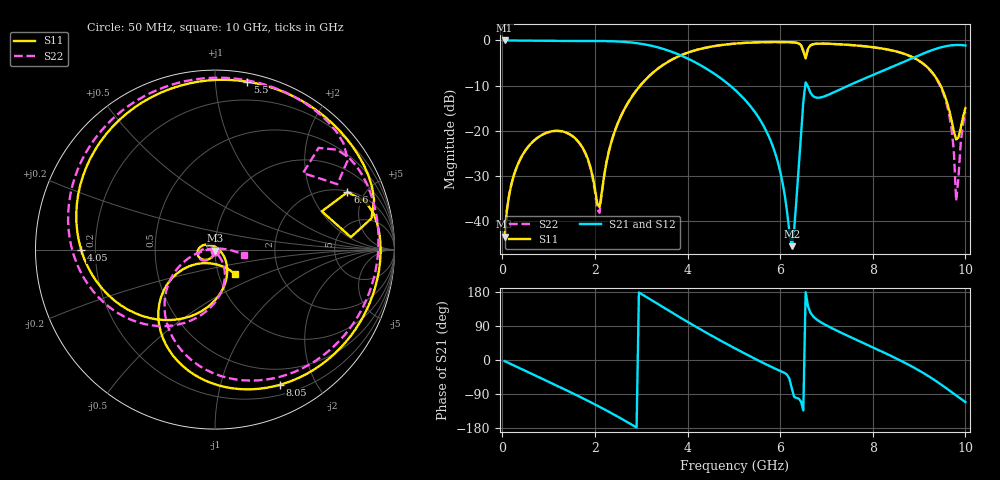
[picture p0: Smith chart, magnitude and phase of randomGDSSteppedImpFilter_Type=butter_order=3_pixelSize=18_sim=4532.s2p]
! freq	dB(S11)	phase(S11)	dB(S12)	phase(S12)
!  dB(S21)	phase(S21)	dB(S22)	phase(S22)
!S-par simulation data
#  GHz  S  DB  R 50
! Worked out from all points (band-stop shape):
!   200 points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, 50 MHz to 10 GHz, reference 50 ohm
!   highest |S21| = 0.00 dB at 50 MHz (marker M1); lowest = -45.5 dB at 6.25 GHz (marker M2)
!   |S21| within 3 dB of the highest: start of sweep to 3.784 GHz; 9.065 GHz to end of sweep
!   lowest |S11| = -43.4 dB at 50 MHz (marker M3), VSWR 1.01, Z = 50 - j0.673 ohm
!   |S11| at or under -10 dB: start of sweep to 2.978 GHz; 9.463 GHz to end of sweep
!   |S22| runs from -43.5 to -0.3 dB; largest |S21 - S12| = 0
!   S11 on the Smith chart (normalised r, x): 50 MHz: 1.00, -0.01; 4.05 GHz: 0.15, -0.00; 5.5 GHz: 0.06, +1.21; 6.6 GHz: 2.07, +3.74; 8.05 GHz: 0.31, -1.55; 10 GHz: 1.20, -0.34
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0.05  -43.41 -93.3  -0.00 -2.9  -0.00 -2.9  -43.51 -93.0
0.2  -31.64 -103.2  -0.02 -11.6  -0.02 -11.6  -31.63 -102.2
0.6  -23.01 -127.8  -0.06 -34.5  -0.06 -34.5  -23.02 -124.0
1.75  -24.00 155.0  -0.11 -101.7  -0.11 -101.7  -24.11 177.3
2.1  -36.85 39.0  -0.13 -123.5  -0.13 -123.5  -38.11 -103.0
2.5  -18.20 -56.8  -0.24 -150.0  -0.24 -150.0  -18.15 -64.5
3.4  -5.93 -129.6  -1.64 144.8  -1.64 144.8  -5.91 -122.7
4.05  -2.55 -179.9  -4.23 97.0  -4.23 97.0  -2.53 -167.8
5.05  -0.68 109.0  -11.17 29.0  -11.17 29.0  -0.67 127.5
5.5  -0.42 79.1  -16.50 0.5  -16.50 0.5  -0.42 99.7
5.95  -0.35 49.8  -26.90 -26.0  -26.90 -26.0  -0.35 71.7
6.25  -0.41 29.7  -45.49 -74.0  -45.49 -74.0  -0.41 52.0
6.5  -2.38 5.2  -13.60 -132.9  -13.60 -132.9  -2.24 28.1
6.6  -1.90 23.4  -10.17 142.4  -10.17 142.4  -1.84 44.5
6.7  -0.87 13.2  -12.21 116.8  -12.21 116.8  -0.87 34.5
7.3  -0.85 -24.4  -10.80 73.0  -10.80 73.0  -0.86 -4.5
8.05  -1.56 -64.2  -7.44 30.6  -7.44 30.6  -1.57 -48.0
8.35  -2.06 -80.1  -6.14 13.4  -6.14 13.4  -2.08 -65.7
9.45  -9.71 -144.2  -1.58 -62.6  -1.58 -62.6  -9.93 -144.0
9.7  -17.59 -142.4  -1.07 -84.5  -1.07 -84.5  -19.46 -167.8
9.8  -21.87 -108.6  -1.00 -93.4  -1.00 -93.4  -35.46 154.8
10  -14.94 -50.5  -1.11 -111.1  -1.11 -111.1  -15.82 -10.7
